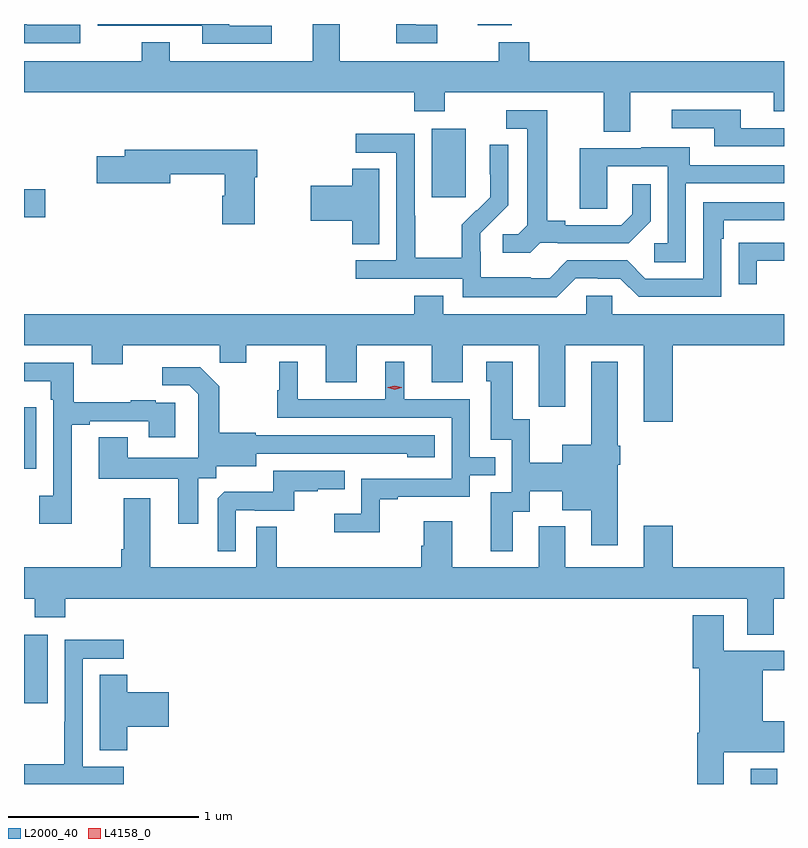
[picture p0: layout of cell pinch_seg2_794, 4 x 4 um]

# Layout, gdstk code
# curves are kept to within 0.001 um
import gdstk
lib = gdstk.Library(unit=1e-6, precision=1e-09)
def R(c, l, rs):  # rectangles x0, y0, x1, y1
    for r in rs: c.add(gdstk.rectangle(r[:2], r[2:], *l))
def P(c, l, *ps):  # polygons
    for p in ps: c.add(gdstk.Polygon(p, *l))
L2000_40 = (2000, 40)
L4158_0 = (4158, 0)

pinch_seg2_794 = lib.new_cell('pinch_seg2_794')
R(pinch_seg2_794, L2000_40, [(690.035,594.712,690.175,594.793), (686.21,595.137,686.335,595.498), (686.21,596.37,686.274,596.695), (686.21,597.695,686.323,597.842), (688.355,597.801,688.534,598.162), (688.598,598.706,688.777,598.712)])
P(pinch_seg2_794, L2000_40, [(687.514,598.704),(687.289,598.704),(687.289,598.712),(686.598,598.712),(686.598,598.704),(687.149,598.704),(687.149,598.608),(687.514,598.608)],
  [(689.401,598.352),(690.155,598.352),(690.155,598.253),(690.21,598.253),(690.21,598.516),(688.868,598.516),(688.868,598.615),(688.708,598.615),(688.708,598.516),(687.871,598.516),(687.871,598.712),(687.731,598.712),(687.731,598.516),(686.977,598.516),(686.977,598.615),(686.83,598.615),(686.83,598.516),(686.21,598.516),(686.21,598.352),(688.265,598.352),(688.265,598.253),(688.425,598.253),(688.425,598.352),(689.261,598.352),(689.261,598.144),(689.401,598.144)],
  [(686.506,598.707),(686.229,598.707),(686.224,598.712),(686.21,598.712),(686.21,598.611),(686.506,598.611)],
  [(688.384,598.707),(688.273,598.707),(688.273,598.712),(688.169,598.712),(688.169,598.611),(688.384,598.611)],
  [(690.21,598.164),(689.983,598.164),(689.983,598.26),(689.619,598.26),(689.619,598.164),(689.843,598.164),(689.843,598.068),(690.21,598.068)],
  [(688.926,597.561),(689.02,597.561),(689.02,597.558),(689.392,597.558),(689.508,597.674),(689.508,597.868),(689.411,597.868),(689.411,597.711),(689.354,597.654),(689.059,597.654),(689.059,597.677),(688.963,597.677),(688.963,598.257),(688.749,598.257),(688.749,598.161),(688.859,598.161),(688.859,597.653),(688.812,597.606),(688.731,597.606),(688.731,597.509),(688.874,597.509)],
  [(689.115,597.375),(689.231,597.375),(689.231,597.372),(689.349,597.372),(689.445,597.276),(689.88,597.276),(689.88,597.581),(689.893,597.581),(689.893,597.678),(690.21,597.678),(690.21,597.774),(689.784,597.774),(689.784,597.372),(689.481,597.372),(689.385,597.468),(689.07,597.468),(688.977,597.375),(688.877,597.375),(688.877,597.379),(688.614,597.379),(688.614,597.513),(688.612,597.513),(688.612,597.61),(688.758,597.758),(688.758,598.076),(688.662,598.076),(688.662,597.922),(688.664,597.922),(688.664,597.8),(688.593,597.729),(688.59,597.732),(688.513,597.655),(688.513,597.481),(688.269,597.481),(688.269,597.704),(688.266,597.704),(688.266,598.134),(687.957,598.134),(687.957,598.035),(688.17,598.035),(688.17,597.468),(687.957,597.468),(687.957,597.372),(688.518,597.372),(688.518,597.275),(689.015,597.275)],
  [(689.694,597.873),(690.21,597.873),(690.21,597.969),(689.713,597.969),(689.713,598.063),(689.459,598.063),(689.459,598.059),(689.135,598.059),(689.135,597.739),(689.28,597.739),(689.28,597.963),(689.598,597.963),(689.598,597.558),(689.526,597.558),(689.526,597.457),(689.694,597.457)],
  [(687.424,597.905),(687.437,597.905),(687.437,598.051),(686.741,598.051),(686.741,598.017),(686.592,598.017),(686.592,597.875),(686.98,597.875),(686.98,597.922),(687.266,597.922),(687.266,597.807),(687.254,597.807),(687.254,597.657),(687.424,597.657)],
  [(688.081,597.95),(687.938,597.95),(687.938,597.86),(687.72,597.86),(687.72,597.677),(687.938,597.677),(687.938,597.553),(688.081,597.553)],
  [(690.067,597.465),(690.21,597.465),(690.21,597.561),(690.073,597.561),(690.073,597.56),(689.971,597.56),(689.971,597.342),(690.067,597.342)],
  [(689.624,597.02),(690.21,597.02),(690.21,597.184),(689.307,597.184),(689.307,597.282),(689.169,597.282),(689.169,597.184),(688.417,597.184),(688.417,597.283),(688.265,597.283),(688.265,597.184),(686.21,597.184),(686.21,597.02),(686.567,597.02),(686.567,596.921),(686.731,596.921),(686.731,597.02),(687.241,597.02),(687.241,596.93),(687.379,596.93),(687.379,597.02),(687.797,597.02),(687.797,596.826),(687.961,596.826),(687.961,597.02),(688.355,597.02),(688.355,596.826),(688.519,596.826),(688.519,597.02),(688.919,597.02),(688.919,596.809),(688.92,596.809),(688.92,596.697),(689.059,596.697),(689.059,597.02),(689.471,597.02),(689.471,596.619),(689.624,596.619)],
  [(688.083,596.211),(688.177,596.211),(688.177,596.223),(688.557,596.223),(688.557,596.337),(688.691,596.337),(688.691,596.433),(688.557,596.433),(688.557,596.736),(688.21,596.736),(688.21,596.935),(688.112,596.935),(688.112,596.736),(687.652,596.736),(687.652,596.935),(687.554,596.935),(687.554,596.784),(687.543,596.784),(687.543,596.64),(688.461,596.64),(688.461,596.319),(687.984,596.319),(687.984,596.134),(687.843,596.134),(687.843,596.036),(688.083,596.036)],
  [(688.783,596.146),(688.873,596.146),(688.873,596.252),(689.042,596.252),(689.042,596.153),(689.195,596.153),(689.195,595.968),(689.335,595.968),(689.335,596.393),(689.348,596.393),(689.348,596.493),(689.335,596.493),(689.335,596.935),(689.195,596.935),(689.195,596.497),(689.042,596.497),(689.042,596.404),(688.872,596.404),(688.872,596.631),(688.783,596.631),(688.783,596.935),(688.643,596.935),(688.643,596.832),(688.667,596.832),(688.667,596.523),(688.776,596.523),(688.776,596.247),(688.667,596.247),(688.667,595.938),(688.783,595.938)],
  [(686.461,596.604),(686.557,596.604),(686.557,596.622),(686.867,596.622),(686.867,596.538),(687.007,596.538),(687.007,596.718),(686.903,596.718),(686.903,596.731),(686.771,596.731),(686.771,596.72),(686.473,596.72),(686.473,596.928),(686.21,596.928),(686.21,596.831),(686.352,596.831),(686.352,596.735),(686.364,596.735),(686.364,596.23),(686.289,596.23),(686.289,596.082),(686.461,596.082)],
  [(687.127,596.32),(687.222,596.32),(687.222,596.384),(687.433,596.384),(687.433,596.451),(688.227,596.45),(688.227,596.432),(688.372,596.432),(688.372,596.547),(687.429,596.547),(687.429,596.56),(687.237,596.56),(687.237,596.805),(687.137,596.905),(686.937,596.905),(686.937,596.811),(687.081,596.811),(687.128,596.764),(687.128,596.669),(687.126,596.669),(687.126,596.428),(686.755,596.428),(686.755,596.537),(686.603,596.537),(686.603,596.318),(687.023,596.318),(687.023,596.082),(687.127,596.082)],
  [(687.324,596.154),(687.424,596.154),(687.424,596.151),(687.632,596.151),(687.632,596.253),(687.755,596.253),(687.755,596.264),(687.899,596.264),(687.899,596.361),(687.522,596.361),(687.522,596.249),(687.263,596.249),(687.231,596.217),(687.231,595.937),(687.324,595.937)],
  [(690.157,595.688),(690.21,595.688),(690.21,595.852),(689.624,595.852),(689.624,596.071),(689.471,596.071),(689.471,595.852),(689.059,595.852),(689.059,596.068),(688.919,596.068),(688.919,595.852),(688.465,595.852),(688.465,596.095),(688.313,596.095),(688.313,595.965),(688.301,595.965),(688.301,595.852),(687.541,595.852),(687.541,596.066),(687.432,596.066),(687.432,595.852),(686.875,595.852),(686.875,596.215),(686.735,596.215),(686.735,595.948),(686.723,595.948),(686.723,595.852),(686.21,595.852),(686.21,595.688),(686.266,595.688),(686.266,595.589),(686.426,595.589),(686.426,595.688),(690.017,595.688),(690.017,595.498),(690.157,595.498)],
  [(689.893,594.878),(690.21,594.878),(690.21,595.042),(690.097,595.042),(690.097,595.312),(690.21,595.312),(690.21,595.413),(689.893,595.413),(689.893,595.6),(689.729,595.6),(689.729,595.32),(689.765,595.32),(689.765,594.982),(689.753,594.982),(689.753,594.712),(689.893,594.712)],
  [(686.734,594.804),(686.52,594.804),(686.52,595.371),(686.734,595.371),(686.734,595.47),(686.424,595.47),(686.424,595.04),(686.422,595.04),(686.422,594.817),(686.21,594.817),(686.21,594.712),(686.734,594.712)],
  [(686.753,595.013),(686.971,595.013),(686.971,595.196),(686.753,595.196),(686.753,595.286),(686.609,595.286),(686.609,594.889),(686.753,594.889)])
P(pinch_seg2_794, L4158_0, [(688.161,596.788),(688.125,596.798),(688.125,596.798),(688.125,596.799),(688.161,596.808),(688.197,596.799),(688.197,596.798),(688.197,596.798)])

lib.write_gds('pinch_seg2_794.gds')
